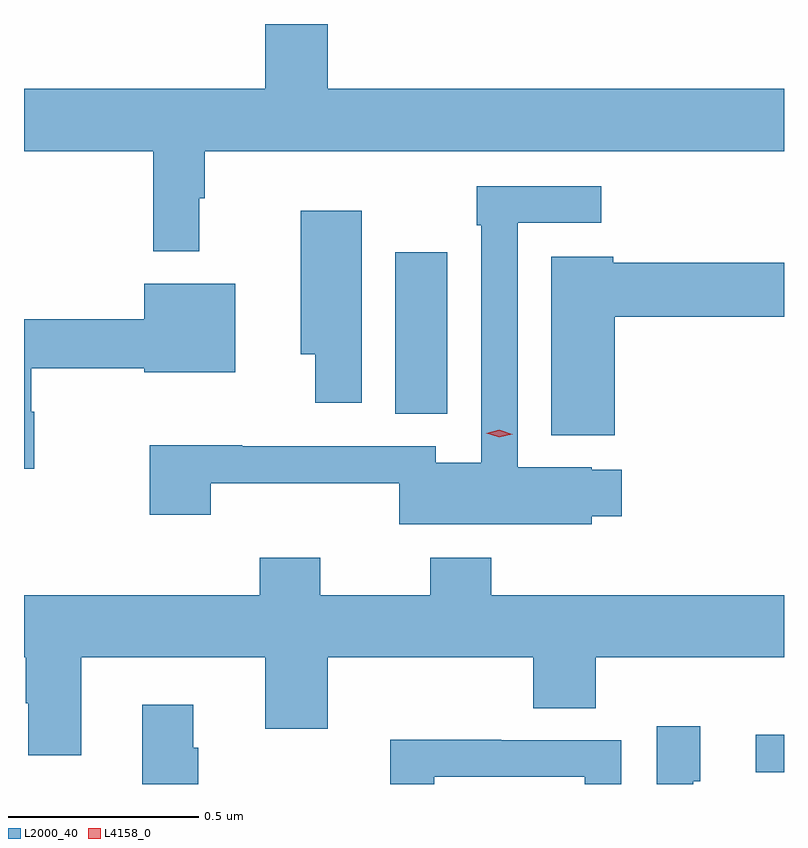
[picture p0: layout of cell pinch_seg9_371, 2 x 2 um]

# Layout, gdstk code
import gdstk
lib = gdstk.Library(unit=1e-6, precision=1e-09)
def R(c, l, rs):  # rectangles x0, y0, x1, y1
    for r in rs: c.add(gdstk.rectangle(r[:2], r[2:], *l))
def P(c, l, *ps):  # polygons
    for p in ps: c.add(gdstk.Polygon(p, *l))
L2000_40 = (2000, 40)
L4158_0 = (4158, 0)

pinch_seg9_371 = lib.new_cell('pinch_seg9_371')
R(pinch_seg9_371, L2000_40, [(549.915,1186.794,549.989,1186.892), (548.966,1187.737,549.103,1188.163)])
P(pinch_seg9_371, L2000_40, [(548.45,1188.305),(548.465,1188.305),(548.465,1188.428),(549.989,1188.428),(549.989,1188.592),(548.788,1188.592),(548.788,1188.763),(548.624,1188.763),(548.624,1188.592),(547.989,1188.592),(547.989,1188.428),(548.329,1188.428),(548.329,1188.165),(548.45,1188.165)],
  [(549.483,1187.468),(549.562,1187.468),(549.562,1187.59),(549.483,1187.59),(549.483,1187.596),(549.288,1187.596),(549.288,1188.24),(549.508,1188.24),(549.508,1188.336),(549.18,1188.336),(549.18,1188.233),(549.192,1188.233),(549.192,1187.608),(549.072,1187.608),(549.072,1187.652),(548.563,1187.652),(548.563,1187.654),(548.32,1187.654),(548.32,1187.472),(548.48,1187.472),(548.48,1187.555),(548.976,1187.555),(548.976,1187.447),(549.483,1187.447)],
  [(548.878,1188.271),(548.717,1188.271),(548.717,1187.894),(548.756,1187.894),(548.756,1187.766),(548.878,1187.766)],
  [(549.544,1187.993),(549.989,1187.993),(549.989,1188.135),(549.54,1188.135),(549.54,1188.151),(549.377,1188.151),(549.377,1187.681),(549.544,1187.681)],
  [(548.016,1187.742),(548.008,1187.742),(548.008,1187.857),(548.306,1187.857),(548.306,1187.846),(548.545,1187.846),(548.545,1188.079),(548.306,1188.079),(548.306,1187.986),(547.989,1187.986),(547.989,1187.592),(548.016,1187.592)],
  [(548.769,1187.359),(548.609,1187.359),(548.609,1187.26),(547.989,1187.26),(547.989,1187.096),(547.993,1187.096),(547.993,1186.976),(548,1186.976),(548,1186.839),(548.14,1186.839),(548.14,1187.096),(548.624,1187.096),(548.624,1186.908),(548.788,1186.908),(548.788,1187.096),(549.329,1187.096),(549.329,1186.963),(549.494,1186.963),(549.494,1187.096),(549.989,1187.096),(549.989,1187.26),(549.218,1187.26),(549.218,1187.359),(549.058,1187.359),(549.058,1187.26),(548.769,1187.26)],
  [(548.447,1186.859),(548.434,1186.859),(548.434,1186.972),(548.3,1186.972),(548.3,1186.763),(548.447,1186.763)],
  [(549.75,1186.77),(549.769,1186.77),(549.769,1186.915),(549.654,1186.915),(549.654,1186.763),(549.75,1186.763)],
  [(549.069,1186.782),(549.465,1186.782),(549.465,1186.763),(549.561,1186.763),(549.561,1186.878),(549.245,1186.878),(549.245,1186.88),(548.953,1186.88),(548.953,1186.763),(549.069,1186.763)])
P(pinch_seg9_371, L4158_0, [(549.239,1187.675),(549.205,1187.686),(549.204,1187.686),(549.205,1187.686),(549.24,1187.695),(549.274,1187.684),(549.275,1187.684),(549.274,1187.684)])

lib.write_gds('pinch_seg9_371.gds')
